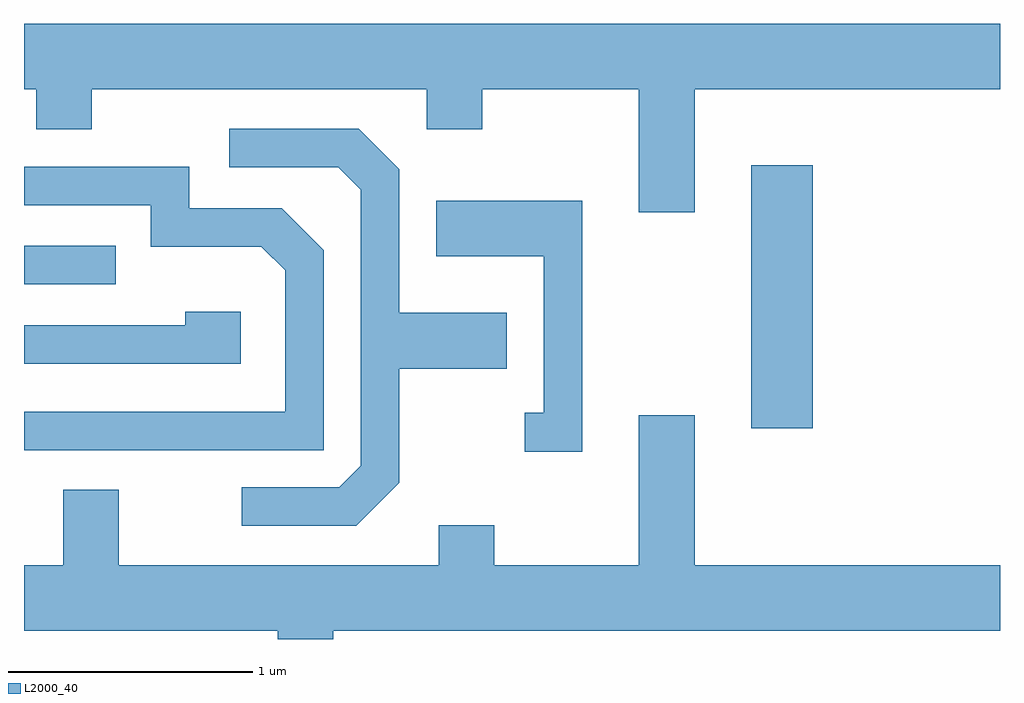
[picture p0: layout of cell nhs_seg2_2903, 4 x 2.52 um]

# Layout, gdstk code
import gdstk
lib = gdstk.Library(unit=1e-6, precision=1e-09)
def R(c, l, rs):  # rectangles x0, y0, x1, y1
    for r in rs: c.add(gdstk.rectangle(r[:2], r[2:], *l))
def P(c, l, *ps):  # polygons
    for p in ps: c.add(gdstk.Polygon(p, *l))
L2000_40 = (2000, 40)

nhs_seg2_2903 = lib.new_cell('nhs_seg2_2903')
R(nhs_seg2_2903, L2000_40, [(272.591,1084.666,272.844,1085.744), (269.611,1085.256,269.988,1085.414)])
P(nhs_seg2_2903, L2000_40, [(272.359,1086.056),(273.611,1086.056),(273.611,1086.324),(269.611,1086.324),(269.611,1086.056),(269.661,1086.056),(269.661,1085.891),(269.889,1085.891),(269.889,1086.056),(271.261,1086.056),(271.261,1085.891),(271.489,1085.891),(271.489,1086.056),(272.131,1086.056),(272.131,1085.551),(272.359,1085.551)],
  [(271.149,1084.444),(271.149,1084.911),(271.589,1084.911),(271.589,1085.139),(271.149,1085.139),(271.149,1085.727),(270.982,1085.894),(270.453,1085.894),(270.453,1085.736),(270.899,1085.736),(270.991,1085.644),(270.991,1084.512),(270.904,1084.424),(270.503,1084.424),(270.503,1084.266),(270.972,1084.266)],
  [(270.839,1085.397),(270.667,1085.569),(270.289,1085.569),(270.289,1085.739),(269.611,1085.739),(269.611,1085.581),(270.131,1085.581),(270.131,1085.411),(270.584,1085.411),(270.681,1085.314),(270.681,1084.734),(269.611,1084.734),(269.611,1084.576),(270.839,1084.576)],
  [(271.899,1085.599),(271.301,1085.599),(271.301,1085.371),(271.741,1085.371),(271.741,1084.729),(271.663,1084.729),(271.663,1084.571),(271.899,1084.571)],
  [(270.499,1085.144),(270.271,1085.144),(270.271,1085.089),(269.611,1085.089),(269.611,1084.931),(270.499,1084.931)],
  [(270.879,1083.836),(273.611,1083.836),(273.611,1084.104),(272.359,1084.104),(272.359,1084.719),(272.131,1084.719),(272.131,1084.104),(271.539,1084.104),(271.539,1084.269),(271.311,1084.269),(271.311,1084.104),(269.999,1084.104),(269.999,1084.414),(269.771,1084.414),(269.771,1084.104),(269.611,1084.104),(269.611,1083.836),(270.651,1083.836),(270.651,1083.802),(270.879,1083.802)])

lib.write_gds('nhs_seg2_2903.gds')
